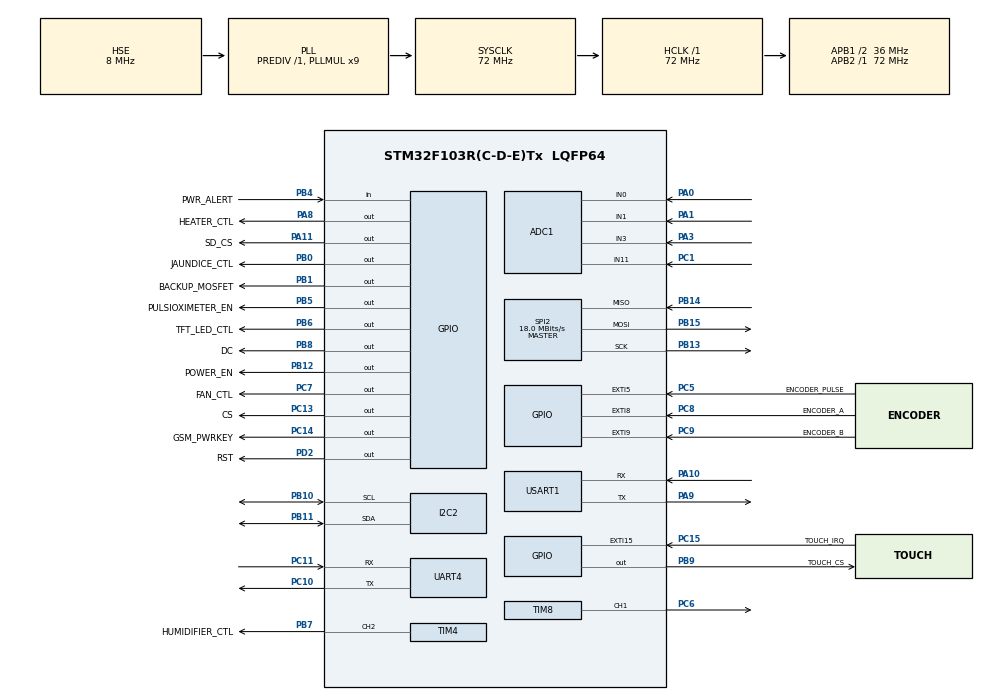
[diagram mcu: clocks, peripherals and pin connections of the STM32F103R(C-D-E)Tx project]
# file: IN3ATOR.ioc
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ADC1.Channel-1\#ChannelRegularConversion=ADC_CHANNEL_3
ADC1.ContinuousConvMode=ENABLE
ADC1.NbrOfConversion=1
ADC1.NbrOfConversionFlag=1
ADC1.Rank-1\#ChannelRegularConversion=1
ADC1.SamplingTime-1\#ChannelRegularConversion=ADC_SAMPLETIME_239CYCLES_5
ADC1.master=1
Dma.ADC1.0.Direction=DMA_PERIPH_TO_MEMORY
Dma.ADC1.0.Instance=DMA1_Channel1
Dma.ADC1.0.MemDataAlignment=DMA_MDATAALIGN_HALFWORD
Dma.ADC1.0.MemInc=DMA_MINC_ENABLE
Dma.ADC1.0.Mode=DMA_CIRCULAR
Dma.ADC1.0.PeriphDataAlignment=DMA_PDATAALIGN_HALFWORD
Dma.ADC1.0.PeriphInc=DMA_PINC_DISABLE
Dma.ADC1.0.Priority=DMA_PRIORITY_LOW
Dma.Request0=ADC1
Mcu.Family=STM32F1
Mcu.Name=STM32F103R(C-D-E)Tx
Mcu.Package=LQFP64
NVIC.DMA1_Channel1_IRQn=true\:0\:0\:false\:false\:true\:false\:true
NVIC.PriorityGroup=NVIC_PRIORITYGROUP_4
NVIC.USART1_IRQn=true\:0\:0\:false\:false\:true\:true\:true
PA0-WKUP.Signal=ADCx_IN0
PA1.Signal=ADCx_IN1
PA10.Mode=Asynchronous
PA10.Signal=USART1_RX
PA11.GPIO_Label=SD_CS
PA11.Signal=GPIO_Output
PA13.Mode=Trace_Asynchronous_SW
PA13.Signal=SYS_JTMS-SWDIO
PA14.Mode=Trace_Asynchronous_SW
PA14.Signal=SYS_JTCK-SWCLK
PA3.Signal=ADCx_IN3
PA5.Signal=SPI1_SCK
PA6.Signal=SPI1_MISO
PA7.Signal=SPI1_MOSI
PA8.GPIO_Label=HEATER_CTL
PA8.Signal=GPIO_Output
PA9.Mode=Asynchronous
PA9.Signal=USART1_TX
PB0.GPIO_Label=JAUNDICE_CTL
PB0.Signal=GPIO_Output
PB1.GPIO_Label=BACKUP_MOSFET
PB1.Signal=GPIO_Output
PB10.Mode=I2C
PB10.Signal=I2C2_SCL
PB11.Mode=I2C
PB11.Signal=I2C2_SDA
PB12.GPIO_Label=POWER_EN
PB12.Signal=GPIO_Output
PB13.Mode=Full_Duplex_Master
PB13.Signal=SPI2_SCK
PB14.Mode=Full_Duplex_Master
PB14.Signal=SPI2_MISO
PB15.Mode=Full_Duplex_Master
PB15.Signal=SPI2_MOSI
PB3.Mode=Trace_Asynchronous_SW
PB3.Signal=SYS_JTDO-TRACESWO
PB4.GPIO_Label=PWR_ALERT
PB4.Signal=GPIO_Input
PB5.GPIO_Label=PULSIOXIMETER_EN
PB5.Signal=GPIO_Output
PB6.GPIO_Label=TFT_LED_CTL
PB6.Signal=GPIO_Output
PB7.GPIO_Label=HUMIDIFIER_CTL
PB7.Signal=S_TIM4_CH2
PB8.GPIO_Label=DC
PB8.GPIO_Speed=GPIO_SPEED_FREQ_HIGH
PB8.Signal=GPIO_Output
PB9.GPIO_Label=TOUCH_CS
PB9.Signal=GPIO_Output
PC1.Signal=ADCx_IN11
PC10.Mode=Asynchronous
PC10.Signal=UART4_TX
PC11.Mode=Asynchronous
PC11.Signal=UART4_RX
PC13-TAMPER-RTC.GPIO_Label=CS
PC13-TAMPER-RTC.GPIO_Speed=GPIO_SPEED_FREQ_HIGH
PC13-TAMPER-RTC.Signal=GPIO_Output
PC14-OSC32_IN.GPIO_Label=GSM_PWRKEY
PC14-OSC32_IN.Signal=GPIO_Output
PC15-OSC32_OUT.GPIO_Label=TOUCH_IRQ
PC15-OSC32_OUT.Signal=GPXTI15
PC5.GPIO_Label=ENCODER_PULSE
PC5.Signal=GPXTI5
PC6.Signal=S_TIM8_CH1
PC7.GPIO_Label=FAN_CTL
PC7.GPIO_Speed=GPIO_SPEED_FREQ_HIGH
PC7.PinState=GPIO_PIN_SET
PC7.Signal=GPIO_Output
PC8.GPIO_Label=ENCODER_A
PC8.Signal=GPXTI8
PC9.GPIO_Label=ENCODER_B
PC9.Signal=GPXTI9
PD0-OSC_IN.Mode=HSE-External-Oscillator
PD0-OSC_IN.Signal=RCC_OSC_IN
PD1-OSC_OUT.Mode=HSE-External-Oscillator
PD1-OSC_OUT.Signal=RCC_OSC_OUT
PD2.GPIO_Label=RST
PD2.GPIO_Speed=GPIO_SPEED_FREQ_HIGH
PD2.Signal=GPIO_Output
ProjectManager.HeapSize=0x200
ProjectManager.StackSize=0x400
ProjectManager.TargetToolchain=STM32CubeIDE
RCC.ADCPresc=RCC_ADCPCLK2_DIV6
RCC.AHBFreq_Value=72000000
RCC.APB1CLKDivider=RCC_HCLK_DIV2
RCC.APB1Freq_Value=36000000
RCC.APB1TimFreq_Value=72000000
RCC.APB2Freq_Value=72000000
RCC.APB2TimFreq_Value=72000000
RCC.HCLKFreq_Value=72000000
RCC.PLLMUL=RCC_PLL_MUL9
RCC.PLLSourceVirtual=RCC_PLLSOURCE_HSE
RCC.SYSCLKFreq_VALUE=72000000
RCC.SYSCLKSource=RCC_SYSCLKSOURCE_PLLCLK
RCC.USBFreq_Value=72000000
SH.ADCx_IN0.0=ADC1_IN0,IN0
SH.ADCx_IN1.0=ADC1_IN1,IN1
SH.ADCx_IN11.0=ADC1_IN11,IN11
SH.ADCx_IN3.0=ADC1_IN3,IN3
SH.S_TIM4_CH2.0=TIM4_CH2,PWM Generation2 CH2
SH.S_TIM8_CH1.0=TIM8_CH1,PWM Generation1 CH1
SPI2.BaudRatePrescaler=SPI_BAUDRATEPRESCALER_2
SPI2.CLKPhase=SPI_PHASE_1EDGE
SPI2.CLKPolarity=SPI_POLARITY_LOW
SPI2.CalculateBaudRate=18.0 MBits/s
SPI2.Direction=SPI_DIRECTION_2LINES
SPI2.Mode=SPI_MODE_MASTER
SPI2.VirtualType=VM_MASTER
TIM4.AutoReloadPreload=TIM_AUTORELOAD_PRELOAD_DISABLE
TIM4.Channel-PWM\ Generation2\ CH2=TIM_CHANNEL_2
TIM4.OCFastMode_PWM-PWM\ Generation2\ CH2=TIM_OCFAST_DISABLE
TIM4.Period=328
TIM4.Prescaler=1
TIM4.Pulse-PWM\ Generation2\ CH2=164
TIM8.Channel-PWM\ Generation1\ CH1=TIM_CHANNEL_1
TIM8.Period=1000
TIM8.Prescaler=36
TIM8.Pulse-PWM\ Generation1\ CH1=500
UART4.VirtualMode=Asynchronous
USART1.VirtualMode=VM_ASYNC
board=custom

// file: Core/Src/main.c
/* USER CODE BEGIN Header */
/**
 ******************************************************************************
 * @file           : main.c
 * @brief          : Main program body
 ******************************************************************************
 * @attention
 *
 * <h2><center>&copy; Copyright (c) 2020 STMicroelectronics.
 * All rights reserved.</center></h2>
 *
 * This software component is licensed by ST under BSD 3-Clause license,
 * the "License"; You may not use this file except in compliance with the
 * License. You may obtain a copy of the License at:
 *                        opensource.org/licenses/BSD-3-Clause
 *
 ******************************************************************************
 */
/* USER CODE END Header */

#include "main.h"

/* USER CODE BEGIN Includes */
#include "ILI9341_Touchscreen.h"
#include "ILI9341_STM32_Driver.h"
#include "ILI9341_GFX.h"
#include <stdio.h>
#include "string.h"

/* Private includes ----------------------------------------------------------*/
/* USER CODE BEGIN Includes */

/* USER CODE END Includes */

/* USER CODE BEGIN PTD */
#define ADC_BUF_LEN 128
/* USER CODE END PTD */

ADC_HandleTypeDef hadc1;
DMA_HandleTypeDef hdma_adc1;

I2C_HandleTypeDef hi2c2;

SPI_HandleTypeDef hspi2;

TIM_HandleTypeDef htim4;
TIM_HandleTypeDef htim8;

UART_HandleTypeDef huart4;
UART_HandleTypeDef huart1;

/* USER CODE BEGIN PV */
uint16_t adc_buf[ADC_BUF_LEN];
/* USER CODE END PV */

void SystemClock_Config(void);
static void MX_GPIO_Init(void);
static void MX_DMA_Init(void);
static void MX_SPI2_Init(void);
static void MX_TIM8_Init(void);
static void MX_ADC1_Init(void);
static void MX_I2C2_Init(void);
static void MX_TIM4_Init(void);
static void MX_UART4_Init(void);
static void MX_USART1_UART_Init(void);

/* USER CODE BEGIN 0 */
static const uint8_t SHTC3_ADDR= 0x70 << 1;
static const uint16_t reg_sleep = 0xB098;
static const uint16_t reg_wakeUp = 0x3517;
static const uint16_t reg_normalModeTemp = 0x7CA2;
/* USER CODE END 0 */

int main(void)
{
  /* USER CODE BEGIN 1 */
uint8_t buf[24];
HAL_StatusTypeDef ret;

  /* USER CODE END 1 */

  /* MCU Configuration--------------------------------------------------------*/

  /* Reset of all peripherals, Initializes the Flash interface and the Systick. */
  HAL_Init();

  /* Configure the system clock */
  SystemClock_Config();

  /* Initialize all configured peripherals */
  MX_GPIO_Init();
  MX_DMA_Init();
  MX_SPI2_Init();
  MX_TIM8_Init();
  MX_ADC1_Init();
  MX_I2C2_Init();
  MX_TIM4_Init();
  MX_UART4_Init();
  MX_USART1_UART_Init();
  /* USER CODE BEGIN 2 */

	//ILI9341_Init(); //initial driver setup to drive ili9341

	//HAL_TIM_PWM_Start(&htim3, TIM_CHANNEL_2);
	//HAL_TIM_PWM_Start(&htim8, TIM_CHANNEL_1);
	HAL_TIM_PWM_Start(&htim4, TIM_CHANNEL_2); //humidifier
    //HAL_ADC_Start(&hadc1);
    //HAL_ADC_Start_DMA(&hadc1, (uint32_t*)adc_buf, ADC_BUF_LEN);
	HAL_GPIO_WritePin(GPIOB, TFT_LED_CTL_Pin, GPIO_PIN_SET);
	//HAL_GPIO_WritePin(GPIOA, GPIO_PIN_15, GPIO_PIN_SET);
	//HAL_GPIO_WritePin(GPIOA, GPIO_PIN_7, GPIO_PIN_SET);
	HAL_GPIO_WritePin(POWER_EN_GPIO_Port, POWER_EN_Pin, GPIO_PIN_SET);
while(1);
	//char Temp_Buffer_text[40];
	//static uint16_t x = 0;
	//static uint16_t y = 0;
  HAL_GPIO_WritePin(GSM_PWRKEY_GPIO_Port, GSM_PWRKEY_Pin, GPIO_PIN_SET);
  HAL_Delay(2000);
HAL_GPIO_WritePin(GSM_PWRKEY_GPIO_Port, GSM_PWRKEY_Pin, GPIO_PIN_RESET);
  HAL_Delay(2000);
  HAL_GPIO_WritePin(GSM_PWRKEY_GPIO_Port, GSM_PWRKEY_Pin, GPIO_PIN_SET);
  HAL_Delay(2000);
	strcpy((char*)buf, "AT+CFUN=1\r\n");
	HAL_UART_Transmit(&huart1, buf, strlen((char*)buf), HAL_MAX_DELAY);
	  HAL_Delay(100);
	  char in[24];
/*
	   HAL_UART_Receive(&huart1, (uint8_t *)in, 8, 1000);
	   HAL_UART_Transmit(&huart4, (uint8_t *)in, strlen((char*)in), 1000);
*/
  while(1){

  }

while (1){
	buf[0] = SHTC3_ADDR;
	buf[1] = reg_wakeUp;
	ret = HAL_I2C_Master_Transmit(&hi2c2, SHTC3_ADDR, buf, 1, HAL_MAX_DELAY);
	if (ret != HAL_OK){
		strcpy((char*)buf, "Error Address and wake up!\r\n");
	}
	else{
		strcpy((char*)buf, "Wake up OK!\r\n");
		HAL_UART_Transmit(&huart4, buf, strlen((char*)buf), HAL_MAX_DELAY);
		buf[0] = SHTC3_ADDR;
		buf[1] = reg_normalModeTemp;
		ret = HAL_I2C_Master_Transmit(&hi2c2, reg_wakeUp, buf, 2, HAL_MAX_DELAY);
		HAL_Delay(300);
		if (ret != HAL_OK){
			strcpy((char*)buf, "Error wakeUp!\r\n");
		}
		else{
			ret = HAL_I2C_Master_Transmit(&hi2c2, reg_normalModeTemp, buf, 2, HAL_MAX_DELAY);
			if (ret != HAL_OK){
				strcpy((char*)buf, "Error Transmission!\r\n");
			}
			else{
				strcpy((char*)buf, "OK!\r\n");
			}
		}
	}
HAL_UART_Transmit(&huart4, buf, strlen((char*)buf), HAL_MAX_DELAY);
HAL_Delay(500);
}
	HAL_GPIO_WritePin(POWER_EN_GPIO_Port, POWER_EN_Pin, GPIO_PIN_SET);

  // initalize sensor module with the i2c address 0x70

  /* USER CODE END 2 */

  /* Infinite loop */
  /* USER CODE BEGIN WHILE */
	while (1) {

		/*
		ILI9341_Fill_Screen(WHITE);
		printf("White\n");
		ILI9341_Fill_Screen(BLUE);
		printf("Blue\n");
		ILI9341_Fill_Screen(RED);
		printf("Red\n");

		HAL_GPIO_WritePin(PULSIOXIMETER_EN_GPIO_Port, PULSIOXIMETER_EN_Pin, GPIO_PIN_SET);
		HAL_Delay(1000);
		HAL_GPIO_WritePin(PULSIOXIMETER_EN_GPIO_Port, PULSIOXIMETER_EN_Pin, GPIO_PIN_SET);
		HAL_Delay(1000);

		HAL_GPIO_WritePin(GPIOA, GPIO_PIN_7, GPIO_PIN_SET);
		HAL_Delay(10000);
		//HAL_GPIO_WritePin(GPIOA, GPIO_PIN_7, GPIO_PIN_RESET);
		//HAL_Delay(10000);

    /* USER CODE END WHILE */

	}
}

void SystemClock_Config(void)
{
  RCC_OscInitTypeDef RCC_OscInitStruct = {0};
  RCC_ClkInitTypeDef RCC_ClkInitStruct = {0};
  RCC_PeriphCLKInitTypeDef PeriphClkInit = {0};

  /** Initializes the CPU, AHB and APB busses clocks
  */
  RCC_OscInitStruct.OscillatorType = RCC_OSCILLATORTYPE_HSE;
  RCC_OscInitStruct.HSEState = RCC_HSE_ON;
  RCC_OscInitStruct.HSEPredivValue = RCC_HSE_PREDIV_DIV1;
  RCC_OscInitStruct.HSIState = RCC_HSI_ON;
  RCC_OscInitStruct.PLL.PLLState = RCC_PLL_ON;
  RCC_OscInitStruct.PLL.PLLSource = RCC_PLLSOURCE_HSE;
  RCC_OscInitStruct.PLL.PLLMUL = RCC_PLL_MUL9;
  if (HAL_RCC_OscConfig(&RCC_OscInitStruct) != HAL_OK)
  {
    Error_Handler();
  }
  /** Initializes the CPU, AHB and APB busses clocks
  */
  RCC_ClkInitStruct.ClockType = RCC_CLOCKTYPE_HCLK|RCC_CLOCKTYPE_SYSCLK
                              |RCC_CLOCKTYPE_PCLK1|RCC_CLOCKTYPE_PCLK2;
  RCC_ClkInitStruct.SYSCLKSource = RCC_SYSCLKSOURCE_PLLCLK;
  RCC_ClkInitStruct.AHBCLKDivider = RCC_SYSCLK_DIV1;
  RCC_ClkInitStruct.APB1CLKDivider = RCC_HCLK_DIV2;
  RCC_ClkInitStruct.APB2CLKDivider = RCC_HCLK_DIV1;

  if (HAL_RCC_ClockConfig(&RCC_ClkInitStruct, FLASH_LATENCY_2) != HAL_OK)
  {
    Error_Handler();
  }
  PeriphClkInit.PeriphClockSelection = RCC_PERIPHCLK_ADC;
  PeriphClkInit.AdcClockSelection = RCC_ADCPCLK2_DIV6;
  if (HAL_RCCEx_PeriphCLKConfig(&PeriphClkInit) != HAL_OK)
  {
    Error_Handler();
  }
}

static void MX_ADC1_Init(void)
{

  ADC_ChannelConfTypeDef sConfig = {0};

  /** Common config
  */
  hadc1.Instance = ADC1;
  hadc1.Init.ScanConvMode = ADC_SCAN_DISABLE;
  hadc1.Init.ContinuousConvMode = ENABLE;
  hadc1.Init.DiscontinuousConvMode = DISABLE;
  hadc1.Init.ExternalTrigConv = ADC_SOFTWARE_START;
  hadc1.Init.DataAlign = ADC_DATAALIGN_RIGHT;
  hadc1.Init.NbrOfConversion = 1;
  if (HAL_ADC_Init(&hadc1) != HAL_OK)
  {
    Error_Handler();
  }
  /** Configure Regular Channel
  */
  sConfig.Channel = ADC_CHANNEL_3;
  sConfig.Rank = ADC_REGULAR_RANK_1;
  sConfig.SamplingTime = ADC_SAMPLETIME_239CYCLES_5;
  if (HAL_ADC_ConfigChannel(&hadc1, &sConfig) != HAL_OK)
  {
    Error_Handler();
  }

}

static void MX_I2C2_Init(void)
{

  hi2c2.Instance = I2C2;
  hi2c2.Init.ClockSpeed = 100000;
  hi2c2.Init.DutyCycle = I2C_DUTYCYCLE_2;
  hi2c2.Init.OwnAddress1 = 0;
  hi2c2.Init.AddressingMode = I2C_ADDRESSINGMODE_7BIT;
  hi2c2.Init.DualAddressMode = I2C_DUALADDRESS_DISABLE;
  hi2c2.Init.OwnAddress2 = 0;
  hi2c2.Init.GeneralCallMode = I2C_GENERALCALL_DISABLE;
  hi2c2.Init.NoStretchMode = I2C_NOSTRETCH_DISABLE;
  if (HAL_I2C_Init(&hi2c2) != HAL_OK)
  {
    Error_Handler();
  }

}

static void MX_SPI2_Init(void)
{

  /* SPI2 parameter configuration*/
  hspi2.Instance = SPI2;
  hspi2.Init.Mode = SPI_MODE_MASTER;
  hspi2.Init.Direction = SPI_DIRECTION_2LINES;
  hspi2.Init.DataSize = SPI_DATASIZE_8BIT;
  hspi2.Init.CLKPolarity = SPI_POLARITY_LOW;
  hspi2.Init.CLKPhase = SPI_PHASE_1EDGE;
  hspi2.Init.NSS = SPI_NSS_SOFT;
  hspi2.Init.BaudRatePrescaler = SPI_BAUDRATEPRESCALER_2;
  hspi2.Init.FirstBit = SPI_FIRSTBIT_MSB;
  hspi2.Init.TIMode = SPI_TIMODE_DISABLE;
  hspi2.Init.CRCCalculation = SPI_CRCCALCULATION_DISABLE;
  hspi2.Init.CRCPolynomial = 10;
  if (HAL_SPI_Init(&hspi2) != HAL_OK)
  {
    Error_Handler();
  }

}

static void MX_TIM4_Init(void)
{

  TIM_MasterConfigTypeDef sMasterConfig = {0};
  TIM_OC_InitTypeDef sConfigOC = {0};

  htim4.Instance = TIM4;
  htim4.Init.Prescaler = 1;
  htim4.Init.CounterMode = TIM_COUNTERMODE_UP;
  htim4.Init.Period = 328;
  htim4.Init.ClockDivision = TIM_CLOCKDIVISION_DIV1;
  htim4.Init.AutoReloadPreload = TIM_AUTORELOAD_PRELOAD_DISABLE;
  if (HAL_TIM_PWM_Init(&htim4) != HAL_OK)
  {
    Error_Handler();
  }
  sMasterConfig.MasterOutputTrigger = TIM_TRGO_RESET;
  sMasterConfig.MasterSlaveMode = TIM_MASTERSLAVEMODE_DISABLE;
  if (HAL_TIMEx_MasterConfigSynchronization(&htim4, &sMasterConfig) != HAL_OK)
  {
    Error_Handler();
  }
  sConfigOC.OCMode = TIM_OCMODE_PWM1;
  sConfigOC.Pulse = 164;
  sConfigOC.OCPolarity = TIM_OCPOLARITY_HIGH;
  sConfigOC.OCFastMode = TIM_OCFAST_DISABLE;
  if (HAL_TIM_PWM_ConfigChannel(&htim4, &sConfigOC, TIM_CHANNEL_2) != HAL_OK)
  {
    Error_Handler();
  }
  HAL_TIM_MspPostInit(&htim4);

}

static void MX_TIM8_Init(void)
{

  TIM_MasterConfigTypeDef sMasterConfig = {0};
  TIM_OC_InitTypeDef sConfigOC = {0};
  TIM_BreakDeadTimeConfigTypeDef sBreakDeadTimeConfig = {0};

  htim8.Instance = TIM8;
  htim8.Init.Prescaler = 36;
  htim8.Init.CounterMode = TIM_COUNTERMODE_UP;
  htim8.Init.Period = 1000;
  htim8.Init.ClockDivision = TIM_CLOCKDIVISION_DIV1;
  htim8.Init.RepetitionCounter = 0;
  htim8.Init.AutoReloadPreload = TIM_AUTORELOAD_PRELOAD_DISABLE;
  if (HAL_TIM_PWM_Init(&htim8) != HAL_OK)
  {
    Error_Handler();
  }
  sMasterConfig.MasterOutputTrigger = TIM_TRGO_RESET;
  sMasterConfig.MasterSlaveMode = TIM_MASTERSLAVEMODE_DISABLE;
  if (HAL_TIMEx_MasterConfigSynchronization(&htim8, &sMasterConfig) != HAL_OK)
  {
    Error_Handler();
  }
  sConfigOC.OCMode = TIM_OCMODE_PWM1;
  sConfigOC.Pulse = 500;
  sConfigOC.OCPolarity = TIM_OCPOLARITY_HIGH;
  sConfigOC.OCNPolarity = TIM_OCNPOLARITY_HIGH;
  sConfigOC.OCFastMode = TIM_OCFAST_DISABLE;
  sConfigOC.OCIdleState = TIM_OCIDLESTATE_RESET;
  sConfigOC.OCNIdleState = TIM_OCNIDLESTATE_RESET;
  if (HAL_TIM_PWM_ConfigChannel(&htim8, &sConfigOC, TIM_CHANNEL_1) != HAL_OK)
  {
    Error_Handler();
  }
  sBreakDeadTimeConfig.OffStateRunMode = TIM_OSSR_DISABLE;
  sBreakDeadTimeConfig.OffStateIDLEMode = TIM_OSSI_DISABLE;
  sBreakDeadTimeConfig.LockLevel = TIM_LOCKLEVEL_OFF;
  sBreakDeadTimeConfig.DeadTime = 0;
  sBreakDeadTimeConfig.BreakState = TIM_BREAK_DISABLE;
  sBreakDeadTimeConfig.BreakPolarity = TIM_BREAKPOLARITY_HIGH;
  sBreakDeadTimeConfig.AutomaticOutput = TIM_AUTOMATICOUTPUT_DISABLE;
  if (HAL_TIMEx_ConfigBreakDeadTime(&htim8, &sBreakDeadTimeConfig) != HAL_OK)
  {
    Error_Handler();
  }
  HAL_TIM_MspPostInit(&htim8);

}

static void MX_UART4_Init(void)
{

  huart4.Instance = UART4;
  huart4.Init.BaudRate = 115200;
  huart4.Init.WordLength = UART_WORDLENGTH_8B;
  huart4.Init.StopBits = UART_STOPBITS_1;
  huart4.Init.Parity = UART_PARITY_NONE;
  huart4.Init.Mode = UART_MODE_TX_RX;
  huart4.Init.HwFlowCtl = UART_HWCONTROL_NONE;
  huart4.Init.OverSampling = UART_OVERSAMPLING_16;
  if (HAL_UART_Init(&huart4) != HAL_OK)
  {
    Error_Handler();
  }

}

static void MX_USART1_UART_Init(void)
{

  huart1.Instance = USART1;
  huart1.Init.BaudRate = 115200;
  huart1.Init.WordLength = UART_WORDLENGTH_8B;
  huart1.Init.StopBits = UART_STOPBITS_1;
  huart1.Init.Parity = UART_PARITY_NONE;
  huart1.Init.Mode = UART_MODE_TX_RX;
  huart1.Init.HwFlowCtl = UART_HWCONTROL_NONE;
  huart1.Init.OverSampling = UART_OVERSAMPLING_16;
  if (HAL_UART_Init(&huart1) != HAL_OK)
  {
    Error_Handler();
  }

}

static void MX_DMA_Init(void)
{

  /* DMA controller clock enable */
  __HAL_RCC_DMA1_CLK_ENABLE();

  /* DMA interrupt init */
  /* DMA1_Channel1_IRQn interrupt configuration */
  HAL_NVIC_SetPriority(DMA1_Channel1_IRQn, 0, 0);
  HAL_NVIC_EnableIRQ(DMA1_Channel1_IRQn);

}

static void MX_GPIO_Init(void)
{
  GPIO_InitTypeDef GPIO_InitStruct = {0};

  /* GPIO Ports Clock Enable */
  __HAL_RCC_GPIOC_CLK_ENABLE();
  __HAL_RCC_GPIOD_CLK_ENABLE();
  __HAL_RCC_GPIOA_CLK_ENABLE();
  __HAL_RCC_GPIOB_CLK_ENABLE();

  /*Configure GPIO pin Output Level */
  HAL_GPIO_WritePin(GPIOC, CS_Pin|GSM_PWRKEY_Pin, GPIO_PIN_RESET);

  /*Configure GPIO pin Output Level */
  HAL_GPIO_WritePin(GPIOB, JAUNDICE_CTL_Pin|BACKUP_MOSFET_Pin|POWER_EN_Pin|PULSIOXIMETER_EN_Pin
                          |TFT_LED_CTL_Pin|DC_Pin|TOUCH_CS_Pin, GPIO_PIN_RESET);

  /*Configure GPIO pin Output Level */
  HAL_GPIO_WritePin(FAN_CTL_GPIO_Port, FAN_CTL_Pin, GPIO_PIN_SET);

  /*Configure GPIO pin Output Level */
  HAL_GPIO_WritePin(GPIOA, HEATER_CTL_Pin|SD_CS_Pin, GPIO_PIN_RESET);

  /*Configure GPIO pin Output Level */
  HAL_GPIO_WritePin(RST_GPIO_Port, RST_Pin, GPIO_PIN_RESET);

  /*Configure GPIO pins : CS_Pin FAN_CTL_Pin */
  GPIO_InitStruct.Pin = CS_Pin|FAN_CTL_Pin;
  GPIO_InitStruct.Mode = GPIO_MODE_OUTPUT_PP;
  GPIO_InitStruct.Pull = GPIO_NOPULL;
  GPIO_InitStruct.Speed = GPIO_SPEED_FREQ_HIGH;
  HAL_GPIO_Init(GPIOC, &GPIO_InitStruct);

  /*Configure GPIO pin : GSM_PWRKEY_Pin */
  GPIO_InitStruct.Pin = GSM_PWRKEY_Pin;
  GPIO_InitStruct.Mode = GPIO_MODE_OUTPUT_PP;
  GPIO_InitStruct.Pull = GPIO_NOPULL;
  GPIO_InitStruct.Speed = GPIO_SPEED_FREQ_LOW;
  HAL_GPIO_Init(GSM_PWRKEY_GPIO_Port, &GPIO_InitStruct);

  /*Configure GPIO pins : TOUCH_IRQ_Pin ENCODER_PULSE_Pin ENCODER_A_Pin ENCODER_B_Pin */
  GPIO_InitStruct.Pin = TOUCH_IRQ_Pin|ENCODER_PULSE_Pin|ENCODER_A_Pin|ENCODER_B_Pin;
  GPIO_InitStruct.Mode = GPIO_MODE_IT_RISING;
  GPIO_InitStruct.Pull = GPIO_NOPULL;
  HAL_GPIO_Init(GPIOC, &GPIO_InitStruct);

  /*Configure GPIO pins : PA5 PA6 PA7 */
  GPIO_InitStruct.Pin = GPIO_PIN_5|GPIO_PIN_6|GPIO_PIN_7;
  GPIO_InitStruct.Mode = GPIO_MODE_AF_PP;
  GPIO_InitStruct.Speed = GPIO_SPEED_FREQ_HIGH;
  HAL_GPIO_Init(GPIOA, &GPIO_InitStruct);

  /*Configure GPIO pins : JAUNDICE_CTL_Pin BACKUP_MOSFET_Pin POWER_EN_Pin PULSIOXIMETER_EN_Pin
                           TFT_LED_CTL_Pin TOUCH_CS_Pin */
  GPIO_InitStruct.Pin = JAUNDICE_CTL_Pin|BACKUP_MOSFET_Pin|POWER_EN_Pin|PULSIOXIMETER_EN_Pin
                          |TFT_LED_CTL_Pin|TOUCH_CS_Pin;
  GPIO_InitStruct.Mode = GPIO_MODE_OUTPUT_PP;
  GPIO_InitStruct.Pull = GPIO_NOPULL;
  GPIO_InitStruct.Speed = GPIO_SPEED_FREQ_LOW;
  HAL_GPIO_Init(GPIOB, &GPIO_InitStruct);

  /*Configure GPIO pins : HEATER_CTL_Pin SD_CS_Pin */
  GPIO_InitStruct.Pin = HEATER_CTL_Pin|SD_CS_Pin;
  GPIO_InitStruct.Mode = GPIO_MODE_OUTPUT_PP;
  GPIO_InitStruct.Pull = GPIO_NOPULL;
  GPIO_InitStruct.Speed = GPIO_SPEED_FREQ_LOW;
  HAL_GPIO_Init(GPIOA, &GPIO_InitStruct);

  /*Configure GPIO pin : RST_Pin */
  GPIO_InitStruct.Pin = RST_Pin;
  GPIO_InitStruct.Mode = GPIO_MODE_OUTPUT_PP;
  GPIO_InitStruct.Pull = GPIO_NOPULL;
  GPIO_InitStruct.Speed = GPIO_SPEED_FREQ_HIGH;
  HAL_GPIO_Init(RST_GPIO_Port, &GPIO_InitStruct);

  /*Configure GPIO pin : PWR_ALERT_Pin */
  GPIO_InitStruct.Pin = PWR_ALERT_Pin;
  GPIO_InitStruct.Mode = GPIO_MODE_INPUT;
  GPIO_InitStruct.Pull = GPIO_NOPULL;
  HAL_GPIO_Init(PWR_ALERT_GPIO_Port, &GPIO_InitStruct);

  /*Configure GPIO pin : DC_Pin */
  GPIO_InitStruct.Pin = DC_Pin;
  GPIO_InitStruct.Mode = GPIO_MODE_OUTPUT_PP;
  GPIO_InitStruct.Pull = GPIO_NOPULL;
  GPIO_InitStruct.Speed = GPIO_SPEED_FREQ_HIGH;
  HAL_GPIO_Init(DC_GPIO_Port, &GPIO_InitStruct);

}

/* USER CODE BEGIN 4 */
void HAL_ADC_ConvCpltCallback(ADC_HandleTypeDef *hadc) {
	uint32_t adc_mean = 0;
	for (int i = 0; i < ADC_BUF_LEN; i++) {
		adc_mean += adc_buf[i];
	}
	adc_mean /= ADC_BUF_LEN;
	printf("%lu\n", adc_mean);
}

void HAL_UART_RxCpltCallback(UART_HandleTypeDef *huart)
{
  HAL_Delay(100);
}

void debugPrint(UART_HandleTypeDef *huart, char _out[]){
 HAL_UART_Transmit(huart, (uint8_t *) _out, strlen(_out), 10);
}

/* USER CODE END 4 */

void Error_Handler(void)
{
}

/************************ (C) COPYRIGHT STMicroelectronics *****END OF FILE****/
